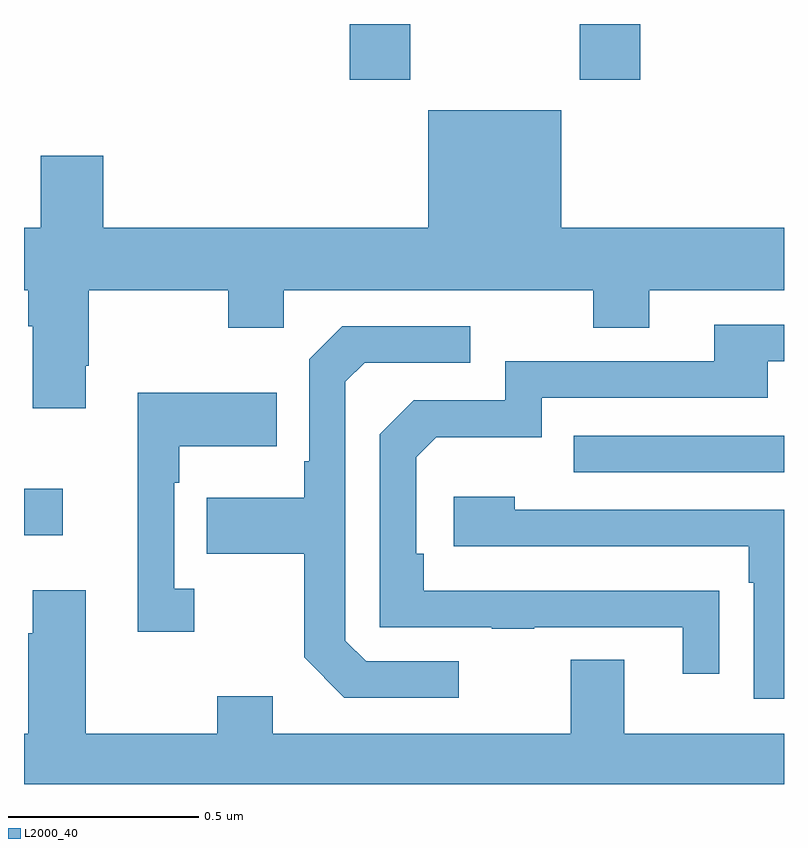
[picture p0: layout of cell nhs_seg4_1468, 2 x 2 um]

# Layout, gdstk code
import gdstk
lib = gdstk.Library(unit=1e-6, precision=1e-09)
def R(c, l, rs):  # rectangles x0, y0, x1, y1
    for r in rs: c.add(gdstk.rectangle(r[:2], r[2:], *l))
def P(c, l, *ps):  # polygons
    for p in ps: c.add(gdstk.Polygon(p, *l))
L2000_40 = (2000, 40)

nhs_seg4_1468 = lib.new_cell('nhs_seg4_1468')
R(nhs_seg4_1468, L2000_40, [(129,749.555,129.102,749.677), (130.447,749.721,131,749.817), (129.857,750.753,130.017,750.9), (130.462,750.753,130.622,750.9)])
P(nhs_seg4_1468, L2000_40, [(129.163,750.001),(129.171,750.001),(129.171,750.2),(129.538,750.2),(129.538,750.101),(129.684,750.101),(129.684,750.2),(130.498,750.2),(130.498,750.101),(130.645,750.101),(130.645,750.2),(131,750.2),(131,750.364),(130.414,750.364),(130.414,750.673),(130.064,750.673),(130.064,750.364),(129.208,750.364),(129.208,750.553),(129.044,750.553),(129.044,750.364),(129,750.364),(129,750.2),(129.011,750.2),(129.011,750.104),(129.023,750.104),(129.023,749.889),(129.163,749.889)],
  [(130.829,749.408),(130.727,749.408),(130.727,749.409),(130.052,749.409),(130.052,749.506),(130.032,749.506),(130.032,749.76),(130.085,749.813),(130.362,749.813),(130.362,749.916),(130.957,749.916),(130.957,750.012),(131,750.012),(131,750.108),(130.817,750.108),(130.817,750.012),(130.266,750.012),(130.266,749.91),(130.026,749.91),(129.936,749.82),(129.936,749.313),(130.231,749.313),(130.231,749.308),(130.343,749.308),(130.343,749.313),(130.733,749.313),(130.733,749.19),(130.829,749.19)],
  [(130.144,749.223),(129.9,749.223),(129.846,749.277),(129.846,749.958),(129.897,750.009),(130.174,750.009),(130.174,750.105),(129.837,750.105),(129.75,750.018),(129.75,749.749),(129.738,749.749),(129.738,749.653),(129.481,749.653),(129.481,749.506),(129.738,749.506),(129.738,749.233),(129.843,749.127),(130.144,749.127)],
  [(129.448,749.414),(129.396,749.414),(129.396,749.693),(129.409,749.693),(129.409,749.789),(129.665,749.789),(129.665,749.929),(129.299,749.929),(129.299,749.301),(129.448,749.301)],
  [(131,749.622),(130.292,749.622),(130.292,749.656),(130.131,749.656),(130.131,749.526),(130.907,749.526),(130.907,749.429),(130.92,749.429),(130.92,749.124),(131,749.124)],
  [(131,749.032),(130.579,749.032),(130.579,749.227),(130.439,749.227),(130.439,749.032),(129.655,749.032),(129.655,749.131),(129.508,749.131),(129.508,749.032),(129.163,749.032),(129.163,749.41),(129.023,749.41),(129.023,749.297),(129.011,749.297),(129.011,749.032),(129,749.032),(129,748.9),(131,748.9)])

lib.write_gds('nhs_seg4_1468.gds')
